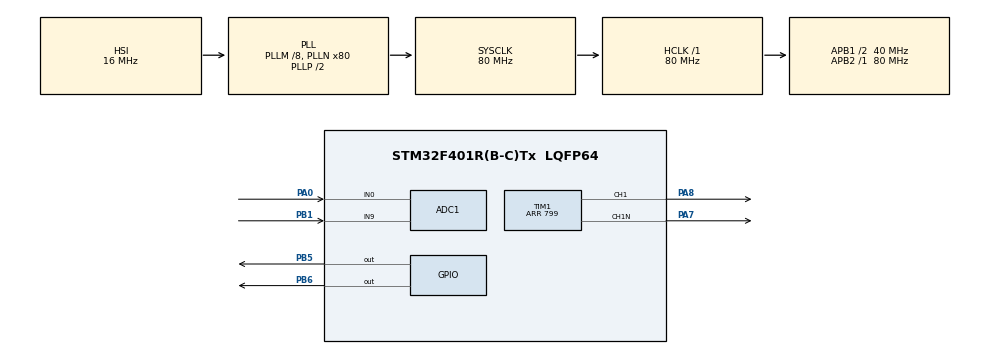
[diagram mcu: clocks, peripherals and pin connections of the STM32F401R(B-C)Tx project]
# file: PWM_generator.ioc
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ADC1.Channel-0\#ChannelRegularConversion=ADC_CHANNEL_0
ADC1.Channel-1\#ChannelRegularConversion=ADC_CHANNEL_9
ADC1.Channel-2\#ChannelInjectedConversion=ADC_CHANNEL_0
ADC1.Channel-3\#ChannelInjectedConversion=ADC_CHANNEL_0
ADC1.ClockPrescaler=ADC_CLOCK_SYNC_PCLK_DIV4
ADC1.InjNumberOfConversion=2
ADC1.InjectedOffset-2\#ChannelInjectedConversion=0
ADC1.InjectedOffset-3\#ChannelInjectedConversion=0
ADC1.InjectedRank-2\#ChannelInjectedConversion=1
ADC1.InjectedRank-3\#ChannelInjectedConversion=2
ADC1.NbrOfConversion=2
ADC1.NbrOfConversionFlag=1
ADC1.Rank-0\#ChannelRegularConversion=1
ADC1.Rank-1\#ChannelRegularConversion=2
ADC1.SamplingTime-0\#ChannelRegularConversion=ADC_SAMPLETIME_480CYCLES
ADC1.SamplingTime-1\#ChannelRegularConversion=ADC_SAMPLETIME_480CYCLES
ADC1.SamplingTime-2\#ChannelInjectedConversion=ADC_SAMPLETIME_3CYCLES
ADC1.SamplingTime-3\#ChannelInjectedConversion=ADC_SAMPLETIME_3CYCLES
ADC1.master=1
Mcu.Family=STM32F4
Mcu.Name=STM32F401R(B-C)Tx
Mcu.Package=LQFP64
NVIC.PriorityGroup=NVIC_PRIORITYGROUP_4
PA0-WKUP.Signal=ADCx_IN0
PA13.Mode=Serial_Wire
PA13.Signal=SYS_JTMS-SWDIO
PA14.Mode=Serial_Wire
PA14.Signal=SYS_JTCK-SWCLK
PA7.Mode=PWM Generation1 CH1 CH1N
PA7.Signal=TIM1_CH1N
PA8.Signal=S_TIM1_CH1
PB1.Signal=ADCx_IN9
PB5.Signal=GPIO_Output
PB6.Signal=GPIO_Output
ProjectManager.HeapSize=0x200
ProjectManager.StackSize=0x400
ProjectManager.TargetToolchain=MDK-ARM V5
RCC.48MHZClocksFreq_Value=40000000
RCC.AHBFreq_Value=80000000
RCC.APB1CLKDivider=RCC_HCLK_DIV2
RCC.APB1Freq_Value=40000000
RCC.APB1TimFreq_Value=80000000
RCC.APB2Freq_Value=80000000
RCC.APB2TimFreq_Value=80000000
RCC.CortexFreq_Value=80000000
RCC.HCLKFreq_Value=80000000
RCC.HSE_VALUE=25000000
RCC.HSI_VALUE=16000000
RCC.LSE_VALUE=32768
RCC.PLLM=8
RCC.PLLN=80
RCC.SYSCLKFreq_VALUE=80000000
RCC.SYSCLKSource=RCC_SYSCLKSOURCE_PLLCLK
RCC.VCOOutputFreq_Value=160000000
SH.ADCx_IN0.0=ADC1_IN0,IN0
SH.ADCx_IN9.0=ADC1_IN9,IN9
SH.S_TIM1_CH1.0=TIM1_CH1,PWM Generation1 CH1 CH1N
TIM1.AutoReloadPreload=TIM_AUTORELOAD_PRELOAD_ENABLE
TIM1.Channel-PWM\ Generation1\ CH1\ CH1N=TIM_CHANNEL_1
TIM1.DeadTime=8
TIM1.OCMode_PWM-PWM\ Generation1\ CH1\ CH1N=TIM_OCMODE_PWM1
TIM1.Period=799
TIM1.Pulse-PWM\ Generation1\ CH1\ CH1N=336
VP_TIM1_VS_ClockSourceINT.Mode=Internal
board=custom

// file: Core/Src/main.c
/* USER CODE BEGIN Header */
/**
  ******************************************************************************
  * @file           : main.c
  * @brief          : Main program body
  ******************************************************************************
  * @attention
  *
  * Copyright (c) 2024 STMicroelectronics.
  * All rights reserved.
  *
  * This software is licensed under terms that can be found in the LICENSE file
  * in the root directory of this software component.
  * If no LICENSE file comes with this software, it is provided AS-IS.
  *
  ******************************************************************************
  */
/* USER CODE END Header */
#include "main.h"
#include "adc.h"
#include "tim.h"
#include "gpio.h"

/* USER CODE BEGIN Includes */
#include "pid.h"
/* USER CODE END Includes */

/* USER CODE BEGIN PD */
#define shutdown 00
#define buck 01
#define boost 10
#define working 11
#define noise 700
#define exp_buck_in 2482
#define exp_buck_out 1034
#define v_exp_buck_out 0.8333

#define exp_boost_in 1034
#define exp_boost_out 2482
#define v_exp_boost_out 2.000
#define s_exp_boost_out 791
/* USER CODE END PD */

/* USER CODE BEGIN PV */
uint16_t  terminal_12V,terminal_5V;
uint16_t  ADC_terminal_0,ADC_terminal_1;
uint8_t   work_mode=00,flag = 0;
double    ADC_terminal_12V,ADC_terminal_5V;
/* USER CODE END PV */

void SystemClock_Config(void);
/* USER CODE BEGIN PFP */
void ADC_Process()
{
	HAL_ADC_Start(&hadc1);
	ADC_terminal_0 = HAL_ADC_GetValue(&hadc1);
	ADC_terminal_12V = ADC_terminal_0/4096.0f*3.3f;
	HAL_Delay(10);
	HAL_ADC_Start(&hadc1);
	ADC_terminal_1 = HAL_ADC_GetValue(&hadc1);
	ADC_terminal_5V = ADC_terminal_1/4096.0f*3.3f;
}

void PWM_Process(double collect_voltage,double exp_voltage)
{
	PID_Control(collect_voltage,exp_voltage);
	if(flag == 0)
	{
	HAL_TIMEx_PWMN_Start(&htim1,TIM_CHANNEL_1);
	HAL_TIM_PWM_Start(&htim1,TIM_CHANNEL_1);
	flag = 1;
	}
	else return;
}

void Workmode_Select(void)
{
	if((ADC_terminal_0 <= noise)&&(ADC_terminal_1 <= noise))
		{work_mode = shutdown;}
	else if((((ADC_terminal_0 <= (exp_buck_in+noise))&&(ADC_terminal_0 >= (exp_buck_in-noise)))&&(ADC_terminal_1 <= noise))&& (flag == 0))
		{work_mode = buck;}
	else if((((ADC_terminal_1 <= (exp_boost_in+noise))&&(ADC_terminal_1 >= (exp_boost_in-noise)))&&((ADC_terminal_0 <= (s_exp_boost_out+noise))&&(ADC_terminal_0 >= (s_exp_boost_out-noise)))) && (flag ==0))
  //else if(((ADC_terminal_1 <= (exp_boost_in+noise))&&(ADC_terminal_1 >= (exp_boost_in-noise)))&&((ADC_terminal_0 <= (noise))))
		{work_mode = boost;}
	else return;
}

void Workmode_Process(void)
{
	if(work_mode == shutdown)
	{
		PID_Clear();
		HAL_TIM_PWM_Stop(&htim1,TIM_CHANNEL_1);
		HAL_TIMEx_PWMN_Stop(&htim1,TIM_CHANNEL_1);
		flag = 0;
	}
	else if(work_mode == buck)
	{
	PWM_Process(ADC_terminal_5V,v_exp_buck_out);
	}
	else if(work_mode == boost)
	{
	PWM_Process(v_exp_boost_out,ADC_terminal_12V);
	}
}
/* USER CODE END PFP */

int main(void)
{

  /* MCU Configuration--------------------------------------------------------*/

  /* Reset of all peripherals, Initializes the Flash interface and the Systick. */
  HAL_Init();

  /* Configure the system clock */
  SystemClock_Config();

  /* Initialize all configured peripherals */
  MX_GPIO_Init();
  MX_TIM1_Init();
  MX_ADC1_Init();
  /* USER CODE BEGIN 2 */
//	TIM1->CCR1 = 336;
//	HAL_TIMEx_PWMN_Start(&htim1,TIM_CHANNEL_1);
//	HAL_TIM_PWM_Start(&htim1,TIM_CHANNEL_1);
  /* USER CODE END 2 */

  /* Infinite loop */
  while (1)
  {

    /* USER CODE BEGIN 3 */
	  ADC_Process();
	  Workmode_Select();
	  Workmode_Process();
  }
  /* USER CODE END 3 */
}

void SystemClock_Config(void)
{
  RCC_OscInitTypeDef RCC_OscInitStruct = {0};
  RCC_ClkInitTypeDef RCC_ClkInitStruct = {0};

  /** Configure the main internal regulator output voltage
  */
  __HAL_RCC_PWR_CLK_ENABLE();
  __HAL_PWR_VOLTAGESCALING_CONFIG(PWR_REGULATOR_VOLTAGE_SCALE2);

  /** Initializes the RCC Oscillators according to the specified parameters
  * in the RCC_OscInitTypeDef structure.
  */
  RCC_OscInitStruct.OscillatorType = RCC_OSCILLATORTYPE_HSI;
  RCC_OscInitStruct.HSIState = RCC_HSI_ON;
  RCC_OscInitStruct.HSICalibrationValue = RCC_HSICALIBRATION_DEFAULT;
  RCC_OscInitStruct.PLL.PLLState = RCC_PLL_ON;
  RCC_OscInitStruct.PLL.PLLSource = RCC_PLLSOURCE_HSI;
  RCC_OscInitStruct.PLL.PLLM = 8;
  RCC_OscInitStruct.PLL.PLLN = 80;
  RCC_OscInitStruct.PLL.PLLP = RCC_PLLP_DIV2;
  RCC_OscInitStruct.PLL.PLLQ = 4;
  if (HAL_RCC_OscConfig(&RCC_OscInitStruct) != HAL_OK)
  {
    Error_Handler();
  }

  /** Initializes the CPU, AHB and APB buses clocks
  */
  RCC_ClkInitStruct.ClockType = RCC_CLOCKTYPE_HCLK|RCC_CLOCKTYPE_SYSCLK
                              |RCC_CLOCKTYPE_PCLK1|RCC_CLOCKTYPE_PCLK2;
  RCC_ClkInitStruct.SYSCLKSource = RCC_SYSCLKSOURCE_PLLCLK;
  RCC_ClkInitStruct.AHBCLKDivider = RCC_SYSCLK_DIV1;
  RCC_ClkInitStruct.APB1CLKDivider = RCC_HCLK_DIV2;
  RCC_ClkInitStruct.APB2CLKDivider = RCC_HCLK_DIV1;

  if (HAL_RCC_ClockConfig(&RCC_ClkInitStruct, FLASH_LATENCY_2) != HAL_OK)
  {
    Error_Handler();
  }
}

void Error_Handler(void)
{
  __disable_irq();
  while (1)
  {
  }
}
